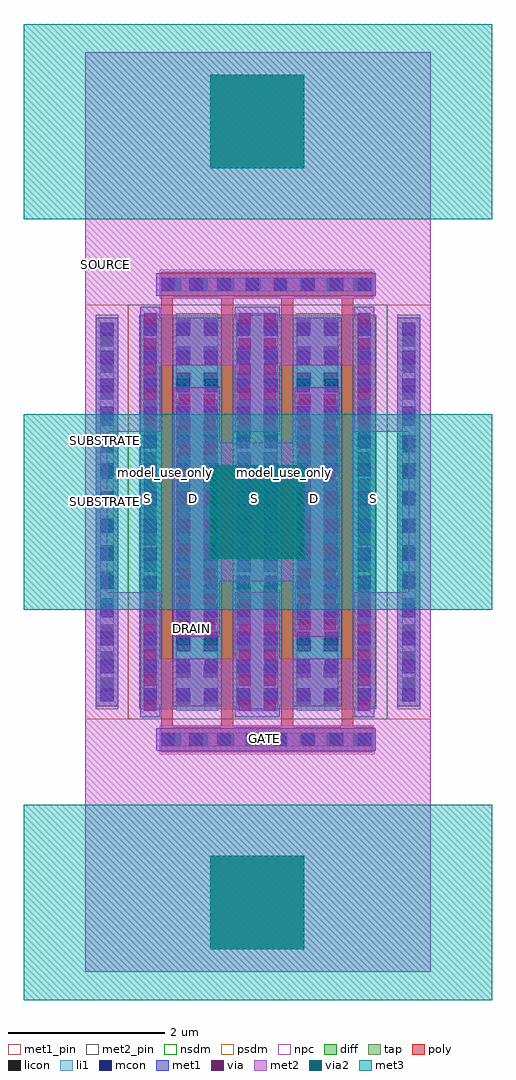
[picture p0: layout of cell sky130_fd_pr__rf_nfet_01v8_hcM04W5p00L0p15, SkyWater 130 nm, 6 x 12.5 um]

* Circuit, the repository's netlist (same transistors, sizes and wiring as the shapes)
* Copyright 2020 The SkyWater PDK Authors
*
* Licensed under the Apache License, Version 2.0 (the "License");
* you may not use this file except in compliance with the License.
* You may obtain a copy of the License at
*
*     https://www.apache.org/licenses/LICENSE-2.0
*
* Unless required by applicable law or agreed to in writing, software
* distributed under the License is distributed on an "AS IS" BASIS,
* WITHOUT WARRANTIES OR CONDITIONS OF ANY KIND, either express or implied.
* See the License for the specific language governing permissions and
* limitations under the License.
*
* SPDX-License-Identifier: Apache-2.0


.subckt sky130_fd_pr__rf_nfet_01v8_hcM04W5p00L0p15 DRAIN GATE SOURCE SUBSTRATE
X0 SOURCE GATE DRAIN SUBSTRATE sky130_fd_pr__nfet_01v8 w=5.05e+06u l=150000u
X1 DRAIN GATE SOURCE SUBSTRATE sky130_fd_pr__nfet_01v8 w=5.05e+06u l=150000u
X2 DRAIN GATE SOURCE SUBSTRATE sky130_fd_pr__nfet_01v8 w=5.05e+06u l=150000u
X3 SOURCE GATE DRAIN SUBSTRATE sky130_fd_pr__nfet_01v8 w=5.05e+06u l=150000u
.ends

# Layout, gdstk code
import gdstk
lib = gdstk.Library(unit=1e-6, precision=1e-09)
def R(c, l, rs):  # rectangles x0, y0, x1, y1
    for r in rs: c.add(gdstk.rectangle(r[:2], r[2:], *l))
def A(c, l, x, y, w, h, nx, ny, dx, dy):  # array of equal rectangles
    R(c, l, [(x+i*dx, y+j*dy, x+i*dx+w, y+j*dy+h) for i in range(nx) for j in range(ny)])
def P(c, l, *ps):  # polygons
    for p in ps: c.add(gdstk.Polygon(p, *l))
diff = (65, 20)
tap = (65, 44)
poly = (66, 20)
licon = (66, 44)
li1 = (67, 20)
mcon = (67, 44)
met1_pin = (68, 16)
met1 = (68, 20)
via = (68, 44)
met2_pin = (69, 16)
met2 = (69, 20)
via2 = (69, 44)
met3 = (70, 20)
nsdm = (93, 44)
psdm = (94, 20)
npc = (95, 20)

sky130_fd_pr__rf_nfet_01 = lib.new_cell('sky130_fd_pr__rf_nfet_01v8_hcM04W5p00L0p15')
R(sky130_fd_pr__rf_nfet_01, diff, [(1.48,3.725,4.515,8.775)])
R(sky130_fd_pr__rf_nfet_01, tap, [(0.92,3.725,1.21,8.775), (4.785,3.725,5.075,8.775)])
A(sky130_fd_pr__rf_nfet_01, poly, 1.76, 3.5, 0.15, 5.5, 4, 1, 0.77, 0)
R(sky130_fd_pr__rf_nfet_01, poly, [(1.76,3.17,4.47,3.5), (1.76,9,4.47,9.33)])
A(sky130_fd_pr__rf_nfet_01, licon, 1.84, 3.25, 0.17, 0.17, 8, 2, 0.34, 5.83)
A(sky130_fd_pr__rf_nfet_01, licon, 1.535, 3.785, 0.17, 0.17, 1, 15, 0, 0.34)
A(sky130_fd_pr__rf_nfet_01, licon, 1.965, 3.785, 0.17, 0.17, 1, 15, 0, 0.34)
A(sky130_fd_pr__rf_nfet_01, licon, 2.305, 3.785, 0.17, 0.17, 1, 15, 0, 0.34)
A(sky130_fd_pr__rf_nfet_01, licon, 2.735, 3.785, 0.17, 0.17, 1, 15, 0, 0.34)
A(sky130_fd_pr__rf_nfet_01, licon, 3.075, 3.785, 0.17, 0.17, 1, 15, 0, 0.34)
A(sky130_fd_pr__rf_nfet_01, licon, 3.505, 3.785, 0.17, 0.17, 1, 15, 0, 0.34)
A(sky130_fd_pr__rf_nfet_01, licon, 3.845, 3.785, 0.17, 0.17, 1, 15, 0, 0.34)
A(sky130_fd_pr__rf_nfet_01, licon, 4.275, 3.785, 0.17, 0.17, 1, 15, 0, 0.34)
A(sky130_fd_pr__rf_nfet_01, licon, 0.98, 3.955, 0.17, 0.17, 1, 14, 0, 0.34)
A(sky130_fd_pr__rf_nfet_01, licon, 4.845, 3.955, 0.17, 0.17, 1, 14, 0, 0.34)
A(sky130_fd_pr__rf_nfet_01, li1, 1.955, 3.705, 0.53, 5.09, 3, 1, 0.77, 0)
R(sky130_fd_pr__rf_nfet_01, li1, [(1.76,3.25,4.47,3.42), (1.76,3.25,4.45,3.42), (1.535,3.705,1.705,8.795), (4.275,3.705,4.445,8.795), (0.98,3.825,1.15,8.675), (4.845,3.825,5.015,8.675), (0.98,3.875,1.15,8.625), (4.845,3.875,5.015,8.625), (0.98,4.895,1.15,7.605), (4.845,4.895,5.015,7.605), (1.76,9.08,4.47,9.25), (1.76,9.08,4.45,9.25)])
A(sky130_fd_pr__rf_nfet_01, mcon, 1.76, 3.25, 0.17, 0.17, 8, 2, 0.36, 5.83)
A(sky130_fd_pr__rf_nfet_01, mcon, 0.98, 3.825, 0.17, 0.17, 1, 14, 0, 0.36)
A(sky130_fd_pr__rf_nfet_01, mcon, 1.535, 3.825, 0.17, 0.17, 1, 14, 0, 0.36)
A(sky130_fd_pr__rf_nfet_01, mcon, 1.955, 3.825, 0.17, 0.17, 1, 14, 0, 0.36)
A(sky130_fd_pr__rf_nfet_01, mcon, 2.315, 3.825, 0.17, 0.17, 1, 14, 0, 0.36)
A(sky130_fd_pr__rf_nfet_01, mcon, 2.725, 3.825, 0.17, 0.17, 1, 14, 0, 0.36)
A(sky130_fd_pr__rf_nfet_01, mcon, 3.085, 3.825, 0.17, 0.17, 1, 14, 0, 0.36)
A(sky130_fd_pr__rf_nfet_01, mcon, 3.495, 3.825, 0.17, 0.17, 1, 14, 0, 0.36)
A(sky130_fd_pr__rf_nfet_01, mcon, 3.855, 3.825, 0.17, 0.17, 1, 14, 0, 0.36)
A(sky130_fd_pr__rf_nfet_01, mcon, 4.275, 3.825, 0.17, 0.17, 1, 14, 0, 0.36)
A(sky130_fd_pr__rf_nfet_01, mcon, 4.845, 3.825, 0.17, 0.17, 1, 14, 0, 0.36)
R(sky130_fd_pr__rf_nfet_01, met1_pin, [(2.86,3.27,3.29,3.395), (0.975,7,1.11,7.32)])
A(sky130_fd_pr__rf_nfet_01, met1, 1.905, 3.765, 0.63, 4.97, 3, 1, 0.77, 0)
R(sky130_fd_pr__rf_nfet_01, met1, [(1.7,3.19,4.51,3.48), (2.42,3.2,3.66,3.47), (1.49,3.62,1.75,5.22), (2.7,3.62,3.28,5.22), (4.23,3.62,4.49,5.22), (0.92,3.765,1.21,8.735), (1.49,3.765,1.765,8.735), (4.215,3.765,4.505,8.735), (4.785,3.765,5.075,8.735), (1.93,4.65,2.51,7.85), (3.47,4.65,4.05,7.85), (1.49,7.28,1.75,8.88), (2.7,7.28,3.28,8.88), (4.23,7.28,4.49,8.88), (1.7,9.02,4.51,9.31)])
A(sky130_fd_pr__rf_nfet_01, via, 1.545, 3.705, 0.15, 0.15, 1, 5, 0, 0.32)
A(sky130_fd_pr__rf_nfet_01, via, 2.755, 3.705, 0.15, 0.15, 1, 5, 0, 0.32)
A(sky130_fd_pr__rf_nfet_01, via, 3.075, 3.705, 0.15, 0.15, 1, 5, 0, 0.32)
A(sky130_fd_pr__rf_nfet_01, via, 4.285, 3.705, 0.15, 0.15, 1, 5, 0, 0.32)
A(sky130_fd_pr__rf_nfet_01, via, 1.985, 4.735, 0.15, 0.15, 1, 10, 0, 0.32)
A(sky130_fd_pr__rf_nfet_01, via, 2.305, 4.735, 0.15, 0.15, 1, 10, 0, 0.32)
A(sky130_fd_pr__rf_nfet_01, via, 3.525, 4.735, 0.15, 0.15, 1, 10, 0, 0.32)
A(sky130_fd_pr__rf_nfet_01, via, 3.845, 4.735, 0.15, 0.15, 1, 10, 0, 0.32)
A(sky130_fd_pr__rf_nfet_01, via, 1.545, 7.365, 0.15, 0.15, 1, 5, 0, 0.32)
A(sky130_fd_pr__rf_nfet_01, via, 2.755, 7.365, 0.15, 0.15, 1, 5, 0, 0.32)
A(sky130_fd_pr__rf_nfet_01, via, 3.075, 7.365, 0.15, 0.15, 1, 5, 0, 0.32)
A(sky130_fd_pr__rf_nfet_01, via, 4.285, 7.365, 0.15, 0.15, 1, 5, 0, 0.32)
R(sky130_fd_pr__rf_nfet_01, met2_pin, [(1.955,4.695,2.335,4.82), (0.79,9.355,1.17,9.48)])
A(sky130_fd_pr__rf_nfet_01, met2, 2.1, 0.36, 1.78, 1.78, 1, 3, 0, 5)
R(sky130_fd_pr__rf_nfet_01, met2, [(1.49,3.62,1.75,5.22), (2.7,3.62,3.28,5.22), (4.23,3.62,4.49,5.22), (1.93,4.65,2.51,7.85), (3.47,4.65,4.05,7.85), (1.49,7.28,1.75,8.88), (2.7,7.28,3.28,8.88), (4.23,7.28,4.49,8.88)])
P(sky130_fd_pr__rf_nfet_01, met2, [(4.05,7.85),(3.47,7.85),(3.47,7.14),(2.51,7.14),(2.51,7.85),(1.93,7.85),(1.93,4.65),(2.51,4.65),(2.51,5.36),(3.47,5.36),(3.47,4.65),(4.05,4.65)],
  [(4.05,7.85),(3.47,7.85),(3.47,7.14),(2.51,7.14),(2.51,7.85),(1.93,7.85),(1.93,4.65),(2.51,4.65),(2.51,5.36),(3.47,5.36),(3.47,4.65),(4.05,4.65)],
  [(5.21,5.22),(4.23,5.22),(4.23,4.37),(1.75,4.37),(1.75,5.22),(0.79,5.22),(0.79,0.36),(5.21,0.36)],
  [(5.21,12.14),(0.79,12.14),(0.79,5.22),(1.07,5.22),(1.07,7.28),(1.75,7.28),(1.75,8.13),(4.23,8.13),(4.23,7.28),(4.93,7.28),(4.93,5.22),(5.21,5.22)])
A(sky130_fd_pr__rf_nfet_01, via2, 2.39, 0.65, 1.2, 1.2, 1, 3, 0, 5)
A(sky130_fd_pr__rf_nfet_01, met3, 0, 0, 6, 2.5, 1, 3, 0, 5)
A(sky130_fd_pr__rf_nfet_01, met3, 1.995, 0.255, 1.99, 1.99, 1, 3, 0, 5)
R(sky130_fd_pr__rf_nfet_01, nsdm, [(1.34,3.595,4.655,8.905)])
R(sky130_fd_pr__rf_nfet_01, psdm, [(0.79,3.595,1.34,8.905), (4.655,3.595,5.21,8.905)])
R(sky130_fd_pr__rf_nfet_01, npc, [(1.74,3.15,4.49,3.52), (1.74,8.98,4.49,9.35)])
sky130_fd_pr__rf_nfet_01.add(gdstk.Label('model_use_only', (1.81,6.75), layer=66, texttype=83))
sky130_fd_pr__rf_nfet_01.add(gdstk.Label('model_use_only', (2.585,6.75), layer=66, texttype=83))
sky130_fd_pr__rf_nfet_01.add(gdstk.Label('model_use_only', (3.345,6.75), layer=66, texttype=83))
sky130_fd_pr__rf_nfet_01.add(gdstk.Label('model_use_only', (4.13,6.75), layer=66, texttype=83))
sky130_fd_pr__rf_nfet_01.add(gdstk.Label('S', (4.475,6.425), layer=83, texttype=44))
sky130_fd_pr__rf_nfet_01.add(gdstk.Label('D', (2.18,6.425), layer=83, texttype=44))
sky130_fd_pr__rf_nfet_01.add(gdstk.Label('D', (3.72,6.425), layer=83, texttype=44))
sky130_fd_pr__rf_nfet_01.add(gdstk.Label('S', (2.95,6.425), layer=83, texttype=44))
sky130_fd_pr__rf_nfet_01.add(gdstk.Label('S', (1.58,6.425), layer=83, texttype=44))
sky130_fd_pr__rf_nfet_01.add(gdstk.Label('GATE', (3.08,3.345), layer=68, texttype=16))
sky130_fd_pr__rf_nfet_01.add(gdstk.Label('SUBSTRATE', (1.045,6.39), layer=68, texttype=16))
sky130_fd_pr__rf_nfet_01.add(gdstk.Label('SOURCE', (1.045,9.425), layer=69, texttype=16))
sky130_fd_pr__rf_nfet_01.add(gdstk.Label('DRAIN', (2.145,4.76), layer=69, texttype=16))
sky130_fd_pr__rf_nfet_01.add(gdstk.Label('SUBSTRATE', (1.045,7.16), layer=68, texttype=5))

lib.write_gds('sky130_fd_pr__rf_nfet_01v8_hcM04W5p00L0p15.gds')
